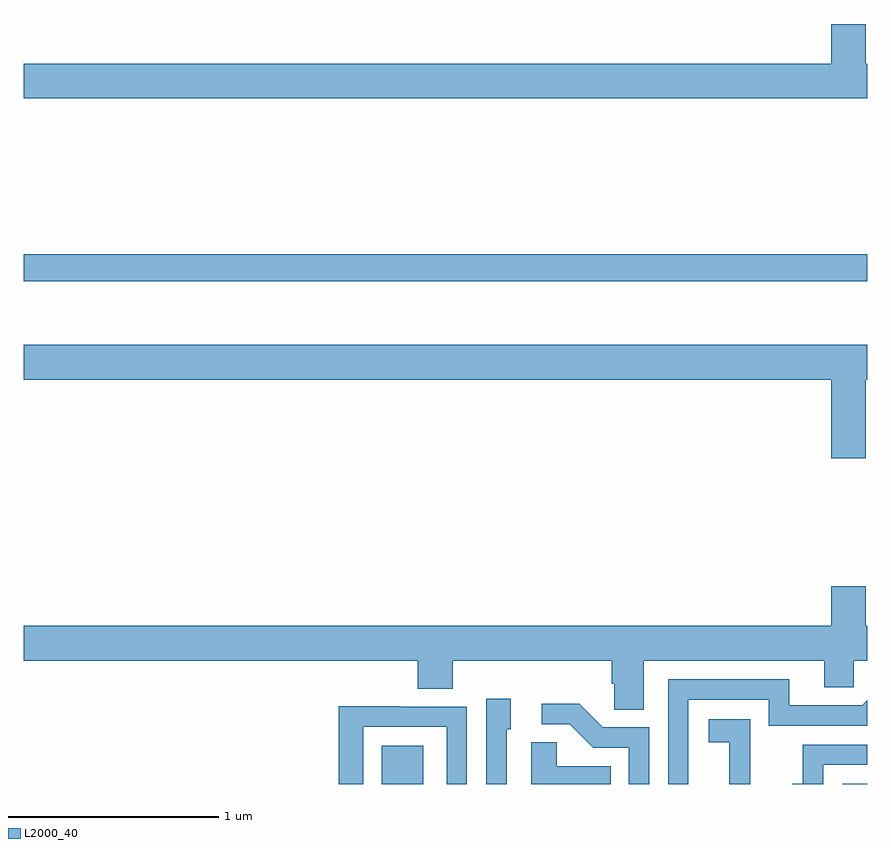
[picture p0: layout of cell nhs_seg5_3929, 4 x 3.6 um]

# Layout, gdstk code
import gdstk
lib = gdstk.Library(unit=1e-6, precision=1e-09)
def R(c, l, rs):  # rectangles x0, y0, x1, y1
    for r in rs: c.add(gdstk.rectangle(r[:2], r[2:], *l))
def P(c, l, *ps):  # polygons
    for p in ps: c.add(gdstk.Polygon(p, *l))
L2000_40 = (2000, 40)

nhs_seg5_3929 = lib.new_cell('nhs_seg5_3929')
R(nhs_seg5_3929, L2000_40, [(342.698,898.799,342.895,898.981), (344.88,898.799,345,898.8), (341,901.182,345,901.31)])
P(nhs_seg5_3929, L2000_40, [(345,902.212),(344.992,902.212),(344.992,902.401),(344.828,902.401),(344.828,902.212),(341,902.212),(341,902.048),(345,902.048)],
  [(344.992,900.716),(345,900.716),(345,900.88),(341,900.88),(341,900.716),(344.828,900.716),(344.828,900.342),(344.992,900.342)],
  [(341,899.384),(342.869,899.384),(342.869,899.251),(343.034,899.251),(343.034,899.384),(343.787,899.384),(343.787,899.275),(343.8,899.275),(343.8,899.152),(343.939,899.152),(343.939,899.384),(344.795,899.384),(344.795,899.257),(344.934,899.257),(344.934,899.384),(345,899.384),(345,899.548),(344.992,899.548),(344.992,899.737),(344.828,899.737),(344.828,899.548),(341,899.548)],
  [(344.151,899.199),(344.532,899.199),(344.532,899.076),(345,899.076),(345,899.196),(344.976,899.172),(344.629,899.172),(344.629,899.295),(344.055,899.295),(344.055,898.799),(344.151,898.799)],
  [(343.29,899.058),(343.309,899.058),(343.309,899.203),(343.194,899.203),(343.194,898.799),(343.29,898.799)],
  [(343.965,899.067),(343.746,899.067),(343.633,899.18),(343.455,899.18),(343.455,899.082),(343.589,899.082),(343.7,898.971),(343.869,898.971),(343.869,898.799),(343.965,898.799)],
  [(342.609,899.07),(343.005,899.07),(343.005,898.799),(343.101,898.799),(343.101,899.166),(342.785,899.166),(342.785,899.168),(342.493,899.168),(342.493,898.799),(342.609,898.799)],
  [(344.444,898.901),(344.445,898.901),(344.445,899.107),(344.247,899.107),(344.247,898.997),(344.345,898.997),(344.345,898.799),(344.444,898.799)],
  [(343.784,898.882),(343.527,898.882),(343.527,898.997),(343.406,898.997),(343.406,898.799),(343.784,898.799)],
  [(344.79,898.89),(345,898.89),(345,898.986),(344.692,898.986),(344.692,898.801),(344.643,898.801),(344.643,898.799),(344.79,898.799)])

lib.write_gds('nhs_seg5_3929.gds')
